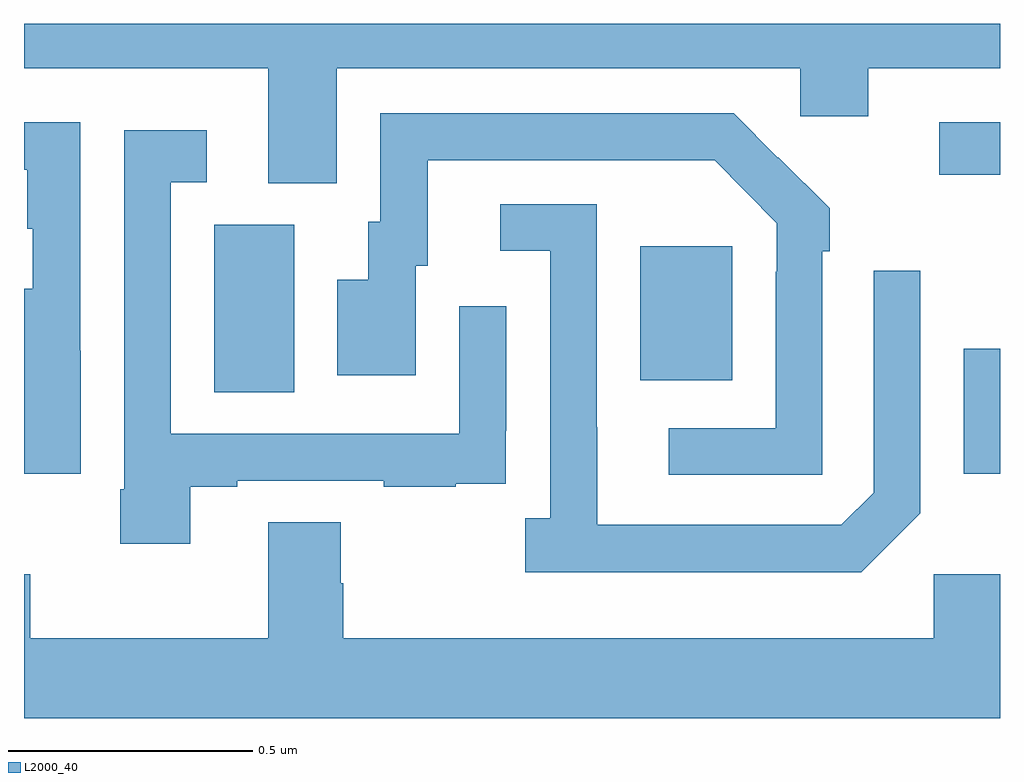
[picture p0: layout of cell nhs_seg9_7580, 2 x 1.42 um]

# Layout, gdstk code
import gdstk
lib = gdstk.Library(unit=1e-6, precision=1e-09)
def R(c, l, rs):  # rectangles x0, y0, x1, y1
    for r in rs: c.add(gdstk.rectangle(r[:2], r[2:], *l))
def P(c, l, *ps):  # polygons
    for p in ps: c.add(gdstk.Polygon(p, *l))
L2000_40 = (2000, 40)

nhs_seg9_7580 = lib.new_cell('nhs_seg9_7580')
R(nhs_seg9_7580, L2000_40, [(207.926,1207.577,208,1207.834), (206.39,1207.744,206.554,1208.088), (207.263,1207.769,207.451,1208.044), (207.876,1208.19,208,1208.298)])
P(nhs_seg9_7580, L2000_40, [(206,1208.408),(206.501,1208.408),(206.501,1208.173),(206.641,1208.173),(206.641,1208.408),(207.591,1208.408),(207.591,1208.31),(207.73,1208.31),(207.73,1208.408),(208,1208.408),(208,1208.5),(206,1208.5)],
  [(207.636,1208.033),(207.651,1208.033),(207.651,1208.121),(207.546,1208.226),(207.545,1208.225),(207.454,1208.316),(206.73,1208.316),(206.73,1208.094),(206.705,1208.094),(206.705,1207.975),(206.642,1207.975),(206.642,1207.779),(206.803,1207.779),(206.803,1208.004),(206.827,1208.004),(206.827,1208.22),(207.415,1208.22),(207.543,1208.091),(207.543,1207.991),(207.54,1207.991),(207.54,1207.671),(207.321,1207.671),(207.321,1207.575),(207.636,1207.575)],
  [(206.116,1207.83),(206.115,1207.83),(206.115,1208.298),(206,1208.298),(206,1208.2),(206.007,1208.2),(206.007,1208.079),(206.018,1208.079),(206.018,1207.957),(206,1207.957),(206,1207.577),(206.116,1207.577)],
  [(206.341,1207.551),(206.437,1207.551),(206.437,1207.563),(206.737,1207.563),(206.737,1207.551),(206.885,1207.551),(206.885,1207.557),(206.987,1207.557),(206.987,1207.666),(206.988,1207.666),(206.988,1207.921),(206.892,1207.921),(206.892,1207.659),(206.301,1207.659),(206.301,1208.175),(206.374,1208.175),(206.374,1208.281),(206.205,1208.281),(206.205,1207.546),(206.197,1207.546),(206.197,1207.434),(206.341,1207.434)],
  [(207.837,1207.497),(207.837,1207.993),(207.741,1207.993),(207.741,1207.539),(207.675,1207.473),(207.175,1207.473),(207.175,1207.673),(207.174,1207.673),(207.174,1208.13),(206.976,1208.13),(206.976,1208.034),(207.078,1208.034),(207.078,1207.486),(207.027,1207.486),(207.027,1207.376),(207.716,1207.376)],
  [(208,1207.372),(207.864,1207.372),(207.864,1207.24),(206.654,1207.24),(206.654,1207.353),(206.649,1207.353),(206.649,1207.478),(206.501,1207.478),(206.501,1207.24),(206.013,1207.24),(206.013,1207.372),(206,1207.372),(206,1207.076),(208,1207.076)])

lib.write_gds('nhs_seg9_7580.gds')
